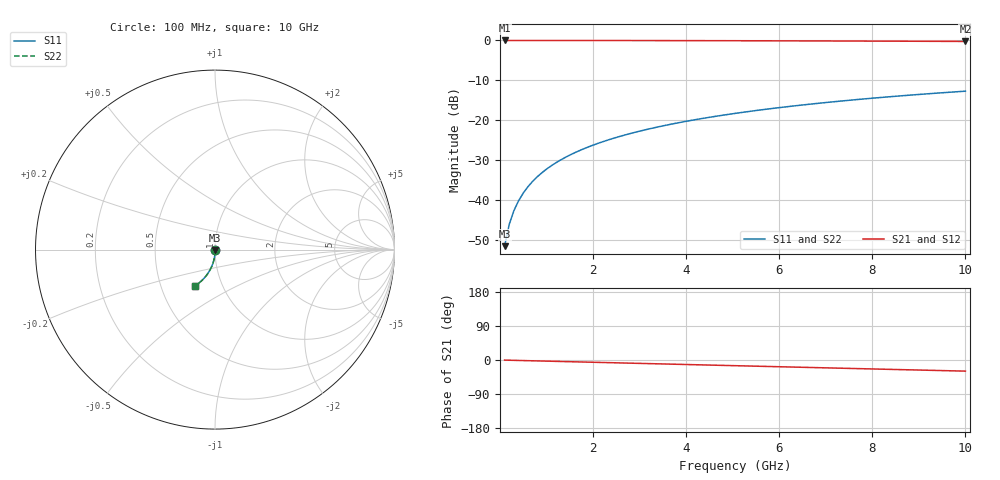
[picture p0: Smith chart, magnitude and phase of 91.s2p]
# Hz S RI R 50.00
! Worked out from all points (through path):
!   100 points, 100 MHz to 10 GHz, reference 50 ohm
!   highest |S21| = -0.01 dB at 100 MHz (marker M1); lowest = -0.3 dB at 10 GHz (marker M2)
!   group delay of S21, straight-line fit = 8.17 ps
!   lowest |S11| = -51.5 dB at 100 MHz (marker M3), VSWR 1.01, Z = 50.1 - j0.246 ohm
!   |S11| at or under -10 dB: start of sweep to end of sweep
!   |S22| runs from -51.5 to -12.7 dB; largest |S21 - S12| = 0
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1e8  0.00104 -0.00246  0.9989 -0.00519  0.9989 -0.00519  0.00104 -0.00246
2e8  0.00101 -0.00492  0.9989 -0.0104  0.9989 -0.0104  0.00101 -0.00492
3e8  0.000945 -0.00738  0.9988 -0.0156  0.9988 -0.0156  0.000945 -0.00738
4e8  0.000856 -0.00984  0.9986 -0.0208  0.9986 -0.0208  0.000856 -0.00984
5e8  0.000741 -0.0123  0.9985 -0.026  0.9985 -0.026  0.000741 -0.0123
6e8  0.0006 -0.0147  0.9983 -0.0311  0.9983 -0.0311  0.0006 -0.0147
7e8  0.000434 -0.0172  0.9981 -0.0363  0.9981 -0.0363  0.000434 -0.0172
8e8  0.000242 -0.0197  0.9978 -0.0415  0.9978 -0.0415  0.000242 -0.0197
9e8  2.39e-05 -0.0221  0.9975 -0.0467  0.9975 -0.0467  2.39e-05 -0.0221
1.1e9  -0.000488 -0.027  0.9969 -0.057  0.9969 -0.057  -0.000488 -0.027
1.4e9  -0.00145 -0.0343  0.9956 -0.0726  0.9956 -0.0726  -0.00145 -0.0343
1.8e9  -0.00308 -0.044  0.9935 -0.0932  0.9935 -0.0932  -0.00308 -0.044
2.1e9  -0.00457 -0.0512  0.9915 -0.1086  0.9915 -0.1086  -0.00457 -0.0512
2.5e9  -0.0069 -0.0608  0.9885 -0.1291  0.9885 -0.1291  -0.0069 -0.0608
2.9e9  -0.00962 -0.0702  0.985 -0.1494  0.985 -0.1494  -0.00962 -0.0702
3.4e9  -0.0136 -0.0818  0.9798 -0.1747  0.9798 -0.1747  -0.0136 -0.0818
4.2e9  -0.0211 -0.0999  0.97 -0.2147  0.97 -0.2147  -0.0211 -0.0999
5.1e9  -0.0313 -0.1193  0.9566 -0.2588  0.9566 -0.2588  -0.0313 -0.1193
5.9e9  -0.0418 -0.1357  0.9427 -0.2971  0.9427 -0.2971  -0.0418 -0.1357
6.7e9  -0.0535 -0.1511  0.9271 -0.3344  0.9271 -0.3344  -0.0535 -0.1511
8.4e9  -0.0821 -0.1802  0.8886 -0.41  0.8886 -0.41  -0.0821 -0.1802
1e10  -0.1129 -0.2024  0.8463 -0.4762  0.8463 -0.4762  -0.1129 -0.2024
